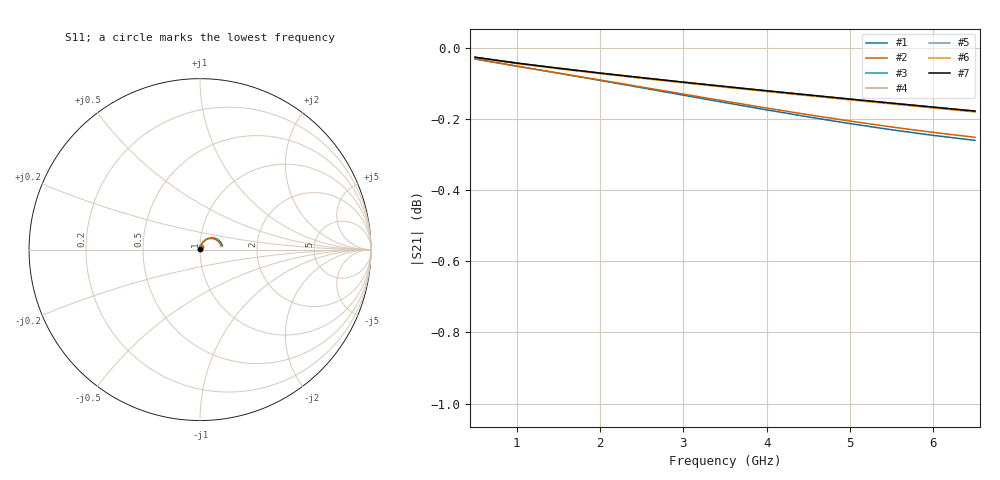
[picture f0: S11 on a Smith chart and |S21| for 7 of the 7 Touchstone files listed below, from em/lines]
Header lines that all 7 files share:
! Sonnet Data File
! From: em Version : 19.54.2026
! Data is De-embedded
# GHZ S RI R 50.00000
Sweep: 500 MHz to 6.5 GHz
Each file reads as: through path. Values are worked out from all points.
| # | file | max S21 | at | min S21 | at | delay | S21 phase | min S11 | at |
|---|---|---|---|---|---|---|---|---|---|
| 1 | w0.16_g0.2.s2p | -0.03 dB | 500 MHz | -0.3 dB | 6.5 GHz | 34.9 ps | -44 deg at 3.5 GHz | -35.2 dB | 500 MHz |
| 2 | w0.16_g0.15.s2p | -0.03 dB | 500 MHz | -0.3 dB | 6.5 GHz | 34.7 ps | -44 deg at 3.5 GHz | -35.7 dB | 500 MHz |
| 3 | w0.19_g0.2.s2p | -0.03 dB | 500 MHz | -0.2 dB | 6.5 GHz | 35.2 ps | -45 deg at 3.5 GHz | -52.1 dB | 500 MHz |
| 4 | w0.19_g0.3.s2p | -0.03 dB | 500 MHz | -0.2 dB | 6.5 GHz | 35.3 ps | -45 deg at 3.5 GHz | -50.4 dB | 500 MHz |
| 5 | w0.19_g0.4.s2p | -0.03 dB | 500 MHz | -0.2 dB | 6.5 GHz | 35.4 ps | -45 deg at 3.5 GHz | -49.9 dB | 500 MHz |
| 6 | w0.19_g0.15.s2p | -0.03 dB | 500 MHz | -0.2 dB | 6.5 GHz | 35 ps | -44 deg at 3.5 GHz | -66.0 dB | 2 GHz |
| 7 | w0.19_ginf.s2p | -0.03 dB | 500 MHz | -0.2 dB | 6.5 GHz | 35.4 ps | -45 deg at 3.5 GHz | -49.6 dB | 500 MHz |
